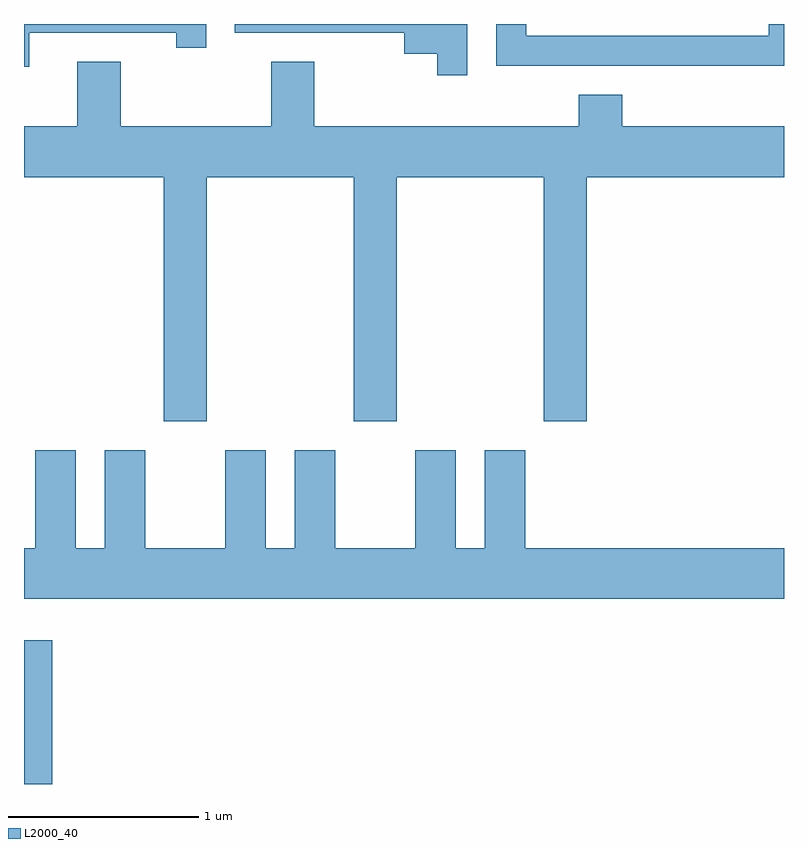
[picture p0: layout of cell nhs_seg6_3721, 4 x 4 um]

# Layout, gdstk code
import gdstk
lib = gdstk.Library(unit=1e-6, precision=1e-09)
def R(c, l, rs):  # rectangles x0, y0, x1, y1
    for r in rs: c.add(gdstk.rectangle(r[:2], r[2:], *l))
def P(c, l, *ps):  # polygons
    for p in ps: c.add(gdstk.Polygon(p, *l))
L2000_40 = (2000, 40)

nhs_seg6_3721 = lib.new_cell('nhs_seg6_3721')
R(nhs_seg6_3721, L2000_40, [(297.611,1560.162,297.759,1560.918)])
P(nhs_seg6_3721, L2000_40, [(297.639,1564.116),(298.411,1564.116),(298.411,1564.038),(298.569,1564.038),(298.569,1564.162),(297.611,1564.162),(297.611,1563.938),(297.639,1563.938)],
  [(299.944,1564.162),(298.721,1564.162),(298.721,1564.116),(299.611,1564.116),(299.611,1564.006),(299.786,1564.006),(299.786,1563.893),(299.944,1563.893)],
  [(301.611,1564.162),(301.531,1564.162),(301.531,1564.099),(300.254,1564.099),(300.254,1564.162),(300.096,1564.162),(300.096,1563.941),(301.611,1563.941)],
  [(298.574,1563.356),(299.346,1563.356),(299.346,1562.071),(299.574,1562.071),(299.574,1563.356),(300.346,1563.356),(300.346,1562.071),(300.574,1562.071),(300.574,1563.356),(301.611,1563.356),(301.611,1563.624),(300.759,1563.624),(300.759,1563.789),(300.531,1563.789),(300.531,1563.624),(299.139,1563.624),(299.139,1563.964),(298.911,1563.964),(298.911,1563.624),(298.119,1563.624),(298.119,1563.964),(297.891,1563.964),(297.891,1563.624),(297.611,1563.624),(297.611,1563.356),(298.346,1563.356),(298.346,1562.071),(298.574,1562.071)],
  [(301.611,1561.404),(300.249,1561.404),(300.249,1561.919),(300.036,1561.919),(300.036,1561.404),(299.884,1561.404),(299.884,1561.919),(299.671,1561.919),(299.671,1561.404),(299.249,1561.404),(299.249,1561.919),(299.036,1561.919),(299.036,1561.404),(298.884,1561.404),(298.884,1561.919),(298.671,1561.919),(298.671,1561.404),(298.249,1561.404),(298.249,1561.919),(298.036,1561.919),(298.036,1561.404),(297.884,1561.404),(297.884,1561.919),(297.671,1561.919),(297.671,1561.404),(297.611,1561.404),(297.611,1561.136),(301.611,1561.136)])

lib.write_gds('nhs_seg6_3721.gds')
